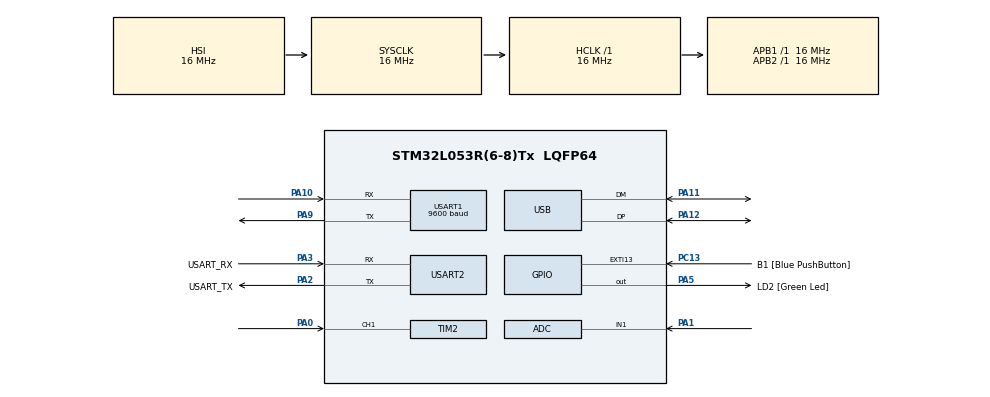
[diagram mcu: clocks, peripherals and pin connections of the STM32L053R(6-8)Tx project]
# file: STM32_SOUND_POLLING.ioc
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ADC.Resolution=ADC_RESOLUTION_8B
ADC.SamplingTime=ADC_SAMPLETIME_19CYCLES_5
Dma.Request0=USART1_TX
Dma.Request1=USART2_TX
Dma.USART1_TX.0.Direction=DMA_MEMORY_TO_PERIPH
Dma.USART1_TX.0.Instance=DMA1_Channel2
Dma.USART1_TX.0.MemDataAlignment=DMA_MDATAALIGN_BYTE
Dma.USART1_TX.0.MemInc=DMA_MINC_ENABLE
Dma.USART1_TX.0.Mode=DMA_NORMAL
Dma.USART1_TX.0.PeriphDataAlignment=DMA_PDATAALIGN_BYTE
Dma.USART1_TX.0.PeriphInc=DMA_PINC_DISABLE
Dma.USART1_TX.0.Priority=DMA_PRIORITY_MEDIUM
Dma.USART2_TX.1.Direction=DMA_MEMORY_TO_PERIPH
Dma.USART2_TX.1.Instance=DMA1_Channel4
Dma.USART2_TX.1.MemDataAlignment=DMA_MDATAALIGN_BYTE
Dma.USART2_TX.1.MemInc=DMA_MINC_ENABLE
Dma.USART2_TX.1.Mode=DMA_NORMAL
Dma.USART2_TX.1.PeriphDataAlignment=DMA_PDATAALIGN_BYTE
Dma.USART2_TX.1.PeriphInc=DMA_PINC_DISABLE
Dma.USART2_TX.1.Priority=DMA_PRIORITY_MEDIUM
Mcu.Family=STM32L0
Mcu.Name=STM32L053R(6-8)Tx
Mcu.Package=LQFP64
NVIC.DMA1_Channel2_3_IRQn=true\:0\:0\:false\:false\:true\:false\:true
NVIC.DMA1_Channel4_5_6_7_IRQn=true\:0\:0\:false\:false\:true\:false\:true
NVIC.USART1_IRQn=true\:0\:0\:false\:false\:true\:true\:true
NVIC.USART2_IRQn=true\:0\:0\:false\:false\:true\:true\:true
PA0.Signal=S_TIM2_CH1
PA1.Mode=IN1
PA1.Signal=ADC_IN1
PA10.GPIO_ModeDefaultPP=GPIO_MODE_AF_PP
PA10.GPIO_PuPd=GPIO_PULLUP
PA10.GPIO_Speed=GPIO_SPEED_FREQ_VERY_HIGH
PA10.Mode=Asynchronous
PA10.Signal=USART1_RX
PA11.Mode=Device
PA11.Signal=USB_DM
PA12.Mode=Device
PA12.Signal=USB_DP
PA13.GPIO_Label=TMS
PA13.Mode=Serial_Wire
PA13.Signal=SYS_SWDIO
PA14.GPIO_Label=TCK
PA14.Mode=Serial_Wire
PA14.Signal=SYS_SWCLK
PA2.GPIO_Label=USART_TX
PA2.Mode=Asynchronous
PA2.Signal=USART2_TX
PA3.GPIO_Label=USART_RX
PA3.Mode=Asynchronous
PA3.Signal=USART2_RX
PA5.GPIO_Label=LD2 [Green Led]
PA5.Signal=GPIO_Output
PA9.GPIO_PuPd=GPIO_PULLUP
PA9.Mode=Asynchronous
PA9.Signal=USART1_TX
PC13.GPIO_Label=B1 [Blue PushButton]
PC13.GPIO_ModeDefaultEXTI=GPIO_MODE_IT_FALLING
PC13.Signal=GPXTI13
PC14-OSC32_IN.Mode=LSE-External-Oscillator
PC14-OSC32_IN.Signal=RCC_OSC32_IN
PC15-OSC32_OUT.Mode=LSE-External-Oscillator
PC15-OSC32_OUT.Signal=RCC_OSC32_OUT
PH0-OSC_IN.Mode=HSE-External-Oscillator
PH0-OSC_IN.Signal=RCC_OSC_IN
PH1-OSC_OUT.Mode=HSE-External-Oscillator
PH1-OSC_OUT.Signal=RCC_OSC_OUT
ProjectManager.HeapSize=0x200
ProjectManager.StackSize=0x400
ProjectManager.TargetToolchain=MDK-ARM V5
RCC.AHBFreq_Value=16000000
RCC.APB1Freq_Value=16000000
RCC.APB1TimFreq_Value=16000000
RCC.APB2Freq_Value=16000000
RCC.APB2TimFreq_Value=16000000
RCC.HCLKFreq_Value=16000000
RCC.HSE_VALUE=8000000
RCC.HSI16_VALUE=16000000
RCC.HSI48_VALUE=48000000
RCC.HSI_VALUE=16000000
RCC.MSI_VALUE=2097000
RCC.PLLMUL=RCC_PLLMUL_12
RCC.SYSCLKFreq_VALUE=16000000
RCC.SYSCLKSource=RCC_SYSCLKSOURCE_HSI
RCC.Usart1ClockSelection=RCC_USART1CLKSOURCE_SYSCLK
RCC.Usart2ClockSelection=RCC_USART2CLKSOURCE_SYSCLK
RCC.VCOOutputFreq_Value=96000000
SH.S_TIM2_CH1.0=TIM2_CH1,Input_Capture1_from_TI1
SH.S_TIM2_CH1.1=TIM2_CH1,Input_Capture2_from_TI1
TIM2.Channel-Input_Capture1_from_TI1=TIM_CHANNEL_1
TIM2.Channel-Input_Capture2_from_TI1=TIM_CHANNEL_2
TIM2.ICFilter_CH1=4
TIM2.ICPolarity_CH1=TIM_INPUTCHANNELPOLARITY_FALLING
TIM2.Period=39999
TIM2.Prescaler=71
USART1.BaudRate=9600
USART1.DMADisableonRxErrorParam=ADVFEATURE_DMA_DISABLEONRXERROR
USART1.Mode=MODE_TX_RX
USART1.OverrunDisableParam=ADVFEATURE_OVERRUN_DISABLE
USART1.Parity=PARITY_NONE
USART1.VirtualMode-Asynchronous=VM_ASYNC
USART1.WordLength=WORDLENGTH_8B
USART2.VirtualMode-Asynchronous=VM_ASYNC
VP_TIM2_VS_ClockSourceINT.Mode=Internal
board=NUCLEO-L053R8

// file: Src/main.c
/* USER CODE BEGIN Header */
/**
  ******************************************************************************
  * @file           : main.c
  * @brief          : Main program body
  ******************************************************************************
  * @attention
  *
  * <h2><center>&copy; Copyright (c) 2019 STMicroelectronics.
  * All rights reserved.</center></h2>
  *
  * This software component is licensed by ST under BSD 3-Clause license,
  * the "License"; You may not use this file except in compliance with the
  * License. You may obtain a copy of the License at:
  *                        opensource.org/licenses/BSD-3-Clause
  *
  ******************************************************************************
  */
/* USER CODE END Header */

#include "main.h"

/* USER CODE BEGIN Includes */
#include <stdio.h>

/* USER CODE END Includes */

ADC_HandleTypeDef hadc;

TIM_HandleTypeDef htim2;

UART_HandleTypeDef huart1;
UART_HandleTypeDef huart2;
DMA_HandleTypeDef hdma_usart1_tx;
DMA_HandleTypeDef hdma_usart2_tx;

PCD_HandleTypeDef hpcd_USB_FS;

void SystemClock_Config(void);
static void MX_GPIO_Init(void);
static void MX_DMA_Init(void);
static void MX_ADC_Init(void);
static void MX_USART2_UART_Init(void);
static void MX_USART1_UART_Init(void);
static void MX_TIM2_Init(void);
static void MX_USB_PCD_Init(void);
/* USER CODE BEGIN PFP */

void HAL_UART_TxCpltCallback(UART_HandleTypeDef *huart);

/* USER CODE END PFP */

/* USER CODE BEGIN 0 */
const uint8_t SOUND_THRESHOLD = 150;

uint8_t uartBuff_alarm[] = "AAAAAABBBB\r\n" ;
uint16_t cnt = 0;
uint8_t adcVal0 = 0;
//uint8_t uartBuff2[] = "AAAAAAAAAAAAAAAAAAAAAAAAAAAAAAAAAAAAAAAAAAAAA\r\n";
uint8_t uartBuff_keep[] = "keep alive\r\n";
uint8_t  tmp;
uint8_t  endTx[] = "\r\n";

/* USER CODE END 0 */

int main(void)
{
  /* USER CODE BEGIN 1 */
	uint8_t value[10]; //a temp array to hold results of ADC conversion to string
	uint8_t i = 0; //loop index
	uint8_t x = 0; //temp vcariable

  /* USER CODE END 1 */

  /* MCU Configuration--------------------------------------------------------*/

  /* Reset of all peripherals, Initializes the Flash interface and the Systick. */
  HAL_Init();

  /* Configure the system clock */
  SystemClock_Config();

  /* Initialize all configured peripherals */
  MX_GPIO_Init();
  MX_DMA_Init();
  MX_ADC_Init();
  MX_USART2_UART_Init();
  MX_USART1_UART_Init();
  MX_TIM2_Init();
  MX_USB_PCD_Init();

  /* Infinite loop */
  while (1)
  {

    /* USER CODE BEGIN 3 */

		//print every second keep alive
		if (cnt%1000 == 0) {
			HAL_UART_Transmit_DMA(&huart2, uartBuff_keep, sizeof(uartBuff_keep));
			HAL_UART_Transmit_DMA(&huart1 , uartBuff_keep, sizeof(uartBuff_keep));
		}

		//Sample sound sensor
		HAL_ADC_Start(&hadc);
		if (HAL_ADC_PollForConversion(&hadc,5) == HAL_OK)
			adcVal0 = HAL_ADC_GetValue(&hadc);

		if (adcVal0 > SOUND_THRESHOLD) {
			x = adcVal0;
			i = 0;
			do { // convert to char
				value[i++] = (char)(x % 10) + '0'; //convert integer to character
				x /= 10;
			} while(x);
			HAL_UART_Transmit_DMA(&huart1, uartBuff_alarm, sizeof(uartBuff_alarm));
			HAL_UART_Transmit_DMA(&huart2, uartBuff_alarm, sizeof(uartBuff_alarm));
			HAL_UART_Transmit_DMA(&huart2, value, sizeof(value));
			// ToDo Send String

			//HAL_UART_Transmit(&huart2, uartBuff2, 13, 10);
			adcVal0 = 0;
	  }

		//wait 1ms
		HAL_Delay(50);
		cnt += 1;

  }
}
  /* USER CODE END 3 */

void SystemClock_Config(void)
{
  RCC_OscInitTypeDef RCC_OscInitStruct = {0};
  RCC_ClkInitTypeDef RCC_ClkInitStruct = {0};
  RCC_PeriphCLKInitTypeDef PeriphClkInit = {0};

  /** Configure the main internal regulator output voltage
  */
  __HAL_PWR_VOLTAGESCALING_CONFIG(PWR_REGULATOR_VOLTAGE_SCALE1);
  /** Initializes the CPU, AHB and APB busses clocks
  */
  RCC_OscInitStruct.OscillatorType = RCC_OSCILLATORTYPE_HSI|RCC_OSCILLATORTYPE_HSE;
  RCC_OscInitStruct.HSEState = RCC_HSE_ON;
  RCC_OscInitStruct.HSIState = RCC_HSI_ON;
  RCC_OscInitStruct.HSICalibrationValue = RCC_HSICALIBRATION_DEFAULT;
  RCC_OscInitStruct.PLL.PLLState = RCC_PLL_ON;
  RCC_OscInitStruct.PLL.PLLSource = RCC_PLLSOURCE_HSE;
  RCC_OscInitStruct.PLL.PLLMUL = RCC_PLLMUL_12;
  RCC_OscInitStruct.PLL.PLLDIV = RCC_PLLDIV_2;
  if (HAL_RCC_OscConfig(&RCC_OscInitStruct) != HAL_OK)
  {
    Error_Handler();
  }
  /** Initializes the CPU, AHB and APB busses clocks
  */
  RCC_ClkInitStruct.ClockType = RCC_CLOCKTYPE_HCLK|RCC_CLOCKTYPE_SYSCLK
                              |RCC_CLOCKTYPE_PCLK1|RCC_CLOCKTYPE_PCLK2;
  RCC_ClkInitStruct.SYSCLKSource = RCC_SYSCLKSOURCE_HSI;
  RCC_ClkInitStruct.AHBCLKDivider = RCC_SYSCLK_DIV1;
  RCC_ClkInitStruct.APB1CLKDivider = RCC_HCLK_DIV1;
  RCC_ClkInitStruct.APB2CLKDivider = RCC_HCLK_DIV1;

  if (HAL_RCC_ClockConfig(&RCC_ClkInitStruct, FLASH_LATENCY_0) != HAL_OK)
  {
    Error_Handler();
  }
  PeriphClkInit.PeriphClockSelection = RCC_PERIPHCLK_USART1|RCC_PERIPHCLK_USART2
                              |RCC_PERIPHCLK_USB;
  PeriphClkInit.Usart1ClockSelection = RCC_USART1CLKSOURCE_SYSCLK;
  PeriphClkInit.Usart2ClockSelection = RCC_USART2CLKSOURCE_SYSCLK;
  PeriphClkInit.UsbClockSelection = RCC_USBCLKSOURCE_PLL;
  if (HAL_RCCEx_PeriphCLKConfig(&PeriphClkInit) != HAL_OK)
  {
    Error_Handler();
  }
}

static void MX_ADC_Init(void)
{

  ADC_ChannelConfTypeDef sConfig = {0};

  /** Configure the global features of the ADC (Clock, Resolution, Data Alignment and number of conversion)
  */
  hadc.Instance = ADC1;
  hadc.Init.OversamplingMode = DISABLE;
  hadc.Init.ClockPrescaler = ADC_CLOCK_SYNC_PCLK_DIV1;
  hadc.Init.Resolution = ADC_RESOLUTION_8B;
  hadc.Init.SamplingTime = ADC_SAMPLETIME_19CYCLES_5;
  hadc.Init.ScanConvMode = ADC_SCAN_DIRECTION_FORWARD;
  hadc.Init.DataAlign = ADC_DATAALIGN_RIGHT;
  hadc.Init.ContinuousConvMode = DISABLE;
  hadc.Init.DiscontinuousConvMode = DISABLE;
  hadc.Init.ExternalTrigConvEdge = ADC_EXTERNALTRIGCONVEDGE_NONE;
  hadc.Init.ExternalTrigConv = ADC_SOFTWARE_START;
  hadc.Init.DMAContinuousRequests = DISABLE;
  hadc.Init.EOCSelection = ADC_EOC_SINGLE_CONV;
  hadc.Init.Overrun = ADC_OVR_DATA_PRESERVED;
  hadc.Init.LowPowerAutoWait = DISABLE;
  hadc.Init.LowPowerFrequencyMode = DISABLE;
  hadc.Init.LowPowerAutoPowerOff = DISABLE;
  if (HAL_ADC_Init(&hadc) != HAL_OK)
  {
    Error_Handler();
  }
  /** Configure for the selected ADC regular channel to be converted.
  */
  sConfig.Channel = ADC_CHANNEL_1;
  sConfig.Rank = ADC_RANK_CHANNEL_NUMBER;
  if (HAL_ADC_ConfigChannel(&hadc, &sConfig) != HAL_OK)
  {
    Error_Handler();
  }

}

static void MX_TIM2_Init(void)
{

  TIM_ClockConfigTypeDef sClockSourceConfig = {0};
  TIM_MasterConfigTypeDef sMasterConfig = {0};
  TIM_IC_InitTypeDef sConfigIC = {0};

  htim2.Instance = TIM2;
  htim2.Init.Prescaler = 71;
  htim2.Init.CounterMode = TIM_COUNTERMODE_UP;
  htim2.Init.Period = 39999;
  htim2.Init.ClockDivision = TIM_CLOCKDIVISION_DIV1;
  htim2.Init.AutoReloadPreload = TIM_AUTORELOAD_PRELOAD_DISABLE;
  if (HAL_TIM_Base_Init(&htim2) != HAL_OK)
  {
    Error_Handler();
  }
  sClockSourceConfig.ClockSource = TIM_CLOCKSOURCE_INTERNAL;
  if (HAL_TIM_ConfigClockSource(&htim2, &sClockSourceConfig) != HAL_OK)
  {
    Error_Handler();
  }
  if (HAL_TIM_IC_Init(&htim2) != HAL_OK)
  {
    Error_Handler();
  }
  sMasterConfig.MasterOutputTrigger = TIM_TRGO_RESET;
  sMasterConfig.MasterSlaveMode = TIM_MASTERSLAVEMODE_DISABLE;
  if (HAL_TIMEx_MasterConfigSynchronization(&htim2, &sMasterConfig) != HAL_OK)
  {
    Error_Handler();
  }
  sConfigIC.ICPolarity = TIM_INPUTCHANNELPOLARITY_FALLING;
  sConfigIC.ICSelection = TIM_ICSELECTION_DIRECTTI;
  sConfigIC.ICPrescaler = TIM_ICPSC_DIV1;
  sConfigIC.ICFilter = 4;
  if (HAL_TIM_IC_ConfigChannel(&htim2, &sConfigIC, TIM_CHANNEL_1) != HAL_OK)
  {
    Error_Handler();
  }
  sConfigIC.ICPolarity = TIM_INPUTCHANNELPOLARITY_RISING;
  sConfigIC.ICSelection = TIM_ICSELECTION_INDIRECTTI;
  sConfigIC.ICFilter = 0;
  if (HAL_TIM_IC_ConfigChannel(&htim2, &sConfigIC, TIM_CHANNEL_2) != HAL_OK)
  {
    Error_Handler();
  }

}

static void MX_USART1_UART_Init(void)
{

  huart1.Instance = USART1;
  huart1.Init.BaudRate = 9600;
  huart1.Init.WordLength = UART_WORDLENGTH_8B;
  huart1.Init.StopBits = UART_STOPBITS_1;
  huart1.Init.Parity = UART_PARITY_NONE;
  huart1.Init.Mode = UART_MODE_TX_RX;
  huart1.Init.HwFlowCtl = UART_HWCONTROL_NONE;
  huart1.Init.OverSampling = UART_OVERSAMPLING_16;
  huart1.Init.OneBitSampling = UART_ONE_BIT_SAMPLE_DISABLE;
  huart1.AdvancedInit.AdvFeatureInit = UART_ADVFEATURE_RXOVERRUNDISABLE_INIT|UART_ADVFEATURE_DMADISABLEONERROR_INIT;
  huart1.AdvancedInit.OverrunDisable = UART_ADVFEATURE_OVERRUN_DISABLE;
  huart1.AdvancedInit.DMADisableonRxError = UART_ADVFEATURE_DMA_DISABLEONRXERROR;
  if (HAL_UART_Init(&huart1) != HAL_OK)
  {
    Error_Handler();
  }

}

static void MX_USART2_UART_Init(void)
{

  huart2.Instance = USART2;
  huart2.Init.BaudRate = 115200;
  huart2.Init.WordLength = UART_WORDLENGTH_8B;
  huart2.Init.StopBits = UART_STOPBITS_1;
  huart2.Init.Parity = UART_PARITY_NONE;
  huart2.Init.Mode = UART_MODE_TX_RX;
  huart2.Init.HwFlowCtl = UART_HWCONTROL_NONE;
  huart2.Init.OverSampling = UART_OVERSAMPLING_16;
  huart2.Init.OneBitSampling = UART_ONE_BIT_SAMPLE_DISABLE;
  huart2.AdvancedInit.AdvFeatureInit = UART_ADVFEATURE_NO_INIT;
  if (HAL_UART_Init(&huart2) != HAL_OK)
  {
    Error_Handler();
  }

}

static void MX_USB_PCD_Init(void)
{

  hpcd_USB_FS.Instance = USB;
  hpcd_USB_FS.Init.dev_endpoints = 8;
  hpcd_USB_FS.Init.speed = PCD_SPEED_FULL;
  hpcd_USB_FS.Init.phy_itface = PCD_PHY_EMBEDDED;
  hpcd_USB_FS.Init.low_power_enable = DISABLE;
  hpcd_USB_FS.Init.lpm_enable = DISABLE;
  hpcd_USB_FS.Init.battery_charging_enable = DISABLE;
  if (HAL_PCD_Init(&hpcd_USB_FS) != HAL_OK)
  {
    Error_Handler();
  }

}

static void MX_DMA_Init(void)
{
  /* DMA controller clock enable */
  __HAL_RCC_DMA1_CLK_ENABLE();

  /* DMA interrupt init */
  /* DMA1_Channel2_3_IRQn interrupt configuration */
  HAL_NVIC_SetPriority(DMA1_Channel2_3_IRQn, 0, 0);
  HAL_NVIC_EnableIRQ(DMA1_Channel2_3_IRQn);
  /* DMA1_Channel4_5_6_7_IRQn interrupt configuration */
  HAL_NVIC_SetPriority(DMA1_Channel4_5_6_7_IRQn, 0, 0);
  HAL_NVIC_EnableIRQ(DMA1_Channel4_5_6_7_IRQn);

}

static void MX_GPIO_Init(void)
{
  GPIO_InitTypeDef GPIO_InitStruct = {0};

  /* GPIO Ports Clock Enable */
  __HAL_RCC_GPIOC_CLK_ENABLE();
  __HAL_RCC_GPIOH_CLK_ENABLE();
  __HAL_RCC_GPIOA_CLK_ENABLE();

  /*Configure GPIO pin Output Level */
  HAL_GPIO_WritePin(LD2_GPIO_Port, LD2_Pin, GPIO_PIN_RESET);

  /*Configure GPIO pin : B1_Pin */
  GPIO_InitStruct.Pin = B1_Pin;
  GPIO_InitStruct.Mode = GPIO_MODE_IT_FALLING;
  GPIO_InitStruct.Pull = GPIO_NOPULL;
  HAL_GPIO_Init(B1_GPIO_Port, &GPIO_InitStruct);

  /*Configure GPIO pin : LD2_Pin */
  GPIO_InitStruct.Pin = LD2_Pin;
  GPIO_InitStruct.Mode = GPIO_MODE_OUTPUT_PP;
  GPIO_InitStruct.Pull = GPIO_NOPULL;
  GPIO_InitStruct.Speed = GPIO_SPEED_FREQ_LOW;
  HAL_GPIO_Init(LD2_GPIO_Port, &GPIO_InitStruct);

}

void Error_Handler(void)
{
}

/************************ (C) COPYRIGHT STMicroelectronics *****END OF FILE****/
